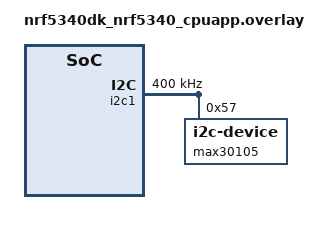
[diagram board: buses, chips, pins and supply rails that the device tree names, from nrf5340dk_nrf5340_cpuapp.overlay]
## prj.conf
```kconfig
CONFIG_BT=y
CONFIG_BT_DEBUG_LOG=y
CONFIG_BT_SMP=y
CONFIG_BT_PERIPHERAL=y
CONFIG_BT_DIS=y
CONFIG_BT_DIS_PNP=n
CONFIG_BT_BAS=y
CONFIG_BT_HRS=y
CONFIG_BT_DEVICE_NAME="Zephyr Health Sensor"
CONFIG_BT_DEVICE_APPEARANCE=768
CONFIG_BT_ATT_ENFORCE_FLOW=n
CONFIG_CBPRINTF_FP_SUPPORT=y
CONFIG_I2C=y
```

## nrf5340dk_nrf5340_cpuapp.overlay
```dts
// To get started, press Ctrl+Space to bring up the completion menu and view the available nodes.

// You can also use the buttons in the sidebar to perform actions on nodes.
// Actions currently available include:

// * Enabling / disabling the node
// * Adding the bus to a bus
// * Removing the node
// * Connecting ADC channels

// For more help, browse the DeviceTree documentation at https://docs.zephyrproject.org/latest/guides/dts/index.html
// You can also visit the nRF DeviceTree extension documentation at https://nrfconnect.github.io/vscode-nrf-connect/devicetree/nrfdevicetree.html

&i2c1 {
    compatible = "nordic,nrf-twim";
    status = "ok";
    clock-frequency = <I2C_BITRATE_FAST>;
    max30105: max30105@57 {
        compatible = "i2c-device";
        reg = <0x57>;
        label = "max30105";
    };
};
```

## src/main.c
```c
/* main.c - Application main entry point */

/*
 * Copyright (c) 2019 Aaron Tsui <aaron.tsui@outlook.com>
 *
 * SPDX-License-Identifier: Apache-2.0
 */

#include <zephyr/types.h>
#include <stddef.h>
#include <string.h>
#include <errno.h>
#include <zephyr/sys/printk.h>
#include <zephyr/sys/byteorder.h>
#include <zephyr/kernel.h>

#include <zephyr/bluetooth/bluetooth.h>
#include <zephyr/bluetooth/hci.h>
#include <zephyr/bluetooth/conn.h>
#include <zephyr/bluetooth/uuid.h>
#include <zephyr/bluetooth/gatt.h>
#include <zephyr/bluetooth/services/bas.h>

#include "hts.h"

#include "heartRate.h"
#include "MAX30105.h"
#include "spo2_algorithm.h"

static const struct i2c_dt_spec i2cSpec = I2C_DT_SPEC_GET(DT_NODELABEL(max30105));

static MAX30105 sensor = { .i2cDriver = &i2cSpec };

static const struct bt_data ad[] = {
	BT_DATA_BYTES(BT_DATA_FLAGS, (BT_LE_AD_GENERAL | BT_LE_AD_NO_BREDR)),
	BT_DATA_BYTES(BT_DATA_UUID16_ALL,
		      BT_UUID_16_ENCODE(BT_UUID_HTS_VAL),
		      BT_UUID_16_ENCODE(BT_UUID_DIS_VAL),
		      BT_UUID_16_ENCODE(BT_UUID_BAS_VAL)),
};

static void connected(struct bt_conn *conn, uint8_t err)
{
	if (err) {
		printk("Connection failed (err 0x%02x)\n", err);
	} else {
		printk("Connected\n");
	}
}

static void disconnected(struct bt_conn *conn, uint8_t reason)
{
	printk("Disconnected (reason 0x%02x)\n", reason);
}

BT_CONN_CB_DEFINE(conn_callbacks) = {
	.connected = connected,
	.disconnected = disconnected,
};

static void bt_ready(void)
{
	int err;

	printk("Bluetooth initialized\n");

	hts_init();

	err = bt_le_adv_start(BT_LE_ADV_CONN_NAME, ad, ARRAY_SIZE(ad), NULL, 0);
	if (err) {
		printk("Advertising failed to start (err %d)\n", err);
		return;
	}

	printk("Advertising successfully started\n");
}

static void auth_cancel(struct bt_conn *conn)
{
	char addr[BT_ADDR_LE_STR_LEN];

	bt_addr_le_to_str(bt_conn_get_dst(conn), addr, sizeof(addr));

	printk("Pairing cancelled: %s\n", addr);
}

static struct bt_conn_auth_cb auth_cb_display = {
	.cancel = auth_cancel,
};

static void bas_notify(void)
{
	uint8_t battery_level = bt_bas_get_battery_level();

	battery_level--;

	if (!battery_level) {
		battery_level = 100U;
	}

	bt_bas_set_battery_level(battery_level);
}

void main(void)
{
	int err;

	err = bt_enable(NULL);
	if (err) {
		printk("Bluetooth init failed (err %d)\n", err);
		return;
	}

	bt_ready();

	bt_conn_auth_cb_register(&auth_cb_display);

	/* Implement indicate. At the moment there is no suitable way
	 * of starting delayed work so we do it here
	 */
	while (1) {
		k_sleep(K_SECONDS(1));

		/* Temperature measurements simulation */
		hts_indicate();

		/* Battery level simulation */
		bas_notify();
	}
}
```

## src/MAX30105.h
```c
/*************************************************** 
 This is a library written for the Maxim MAX30105 Optical Smoke Detector
 It should also work with the MAX30102. However, the MAX30102 does not have a Green LED.

 These sensors use I2C to communicate, as well as a single (optional)
 interrupt line that is not currently supported in this driver.
 
 Written by Peter Jansen and Nathan Seidle (SparkFun)
 BSD license, all text above must be included in any redistribution.
 *****************************************************/

#pragma once

#include <stdbool.h>
#include <stdint.h>
#include <zephyr/drivers/i2c.h>

//Define the size of the I2C buffer
#define I2C_BUFFER_LENGTH 32

#define STORAGE_SIZE 4 //Each long is 4 bytes so limit this to fit on your micro

typedef uint8_t byte;

typedef struct Record
{
  uint32_t red[STORAGE_SIZE];
  uint32_t IR[STORAGE_SIZE];
  uint32_t green[STORAGE_SIZE];
  byte head;
  byte tail;
} sense_struct; //This is our circular buffer of readings from the sensor

typedef struct {
  const struct i2c_dt_spec* i2cDriver;
  //activeLEDs is the number of channels turned on, and can be 1 to 3. 2 is common for Red+IR.
  byte activeLEDs; //Gets set during setup. Allows check() to calculate how many bytes to read from FIFO
  uint8_t revisionID;
  sense_struct sense;
} MAX30105;


bool MAX30105_init(MAX30105* sensor);

uint32_t MAX30105_getRed(MAX30105* sensor); //Returns immediate red value
uint32_t MAX30105_getIR(MAX30105* sensor); //Returns immediate IR value
uint32_t MAX30105_getGreen(MAX30105* sensor); //Returns immediate green value
bool MAX30105_safeCheck(MAX30105* sensor, uint8_t maxTimeToCheck); //Given a max amount of time, check for new data

// Configuration
void MAX30105_softReset(MAX30105* sensor);
void MAX30105_shutDown(MAX30105* sensor);
void MAX30105_wakeUp(MAX30105* sensor);

void MAX30105_setLEDMode(MAX30105* sensor, uint8_t mode);

void MAX30105_setADCRange(MAX30105* sensor, uint8_t adcRange);
void MAX30105_setSampleRate(MAX30105* sensor, uint8_t sampleRate);
void MAX30105_setPulseWidth(MAX30105* sensor, uint8_t pulseWidth);

void MAX30105_setPulseAmplitudeRed(MAX30105* sensor, uint8_t amplitude);
void MAX30105_setPulseAmplitudeIR(MAX30105* sensor, uint8_t amplitude);
void MAX30105_setPulseAmplitudeGreen(MAX30105* sensor, uint8_t amplitude);
void MAX30105_setPulseAmplitudeProximity(MAX30105* sensor, uint8_t amplitude);

void MAX30105_setProximityThreshold(MAX30105* sensor, uint8_t threshMSB);

//Multi-led configuration mode (page 22)
void MAX30105_enableSlot(MAX30105* sensor, uint8_t slotNumber, uint8_t device); //Given slot number, assign a device to slot
void MAX30105_disableSlots(MAX30105* sensor);

// Data Collection

//Interrupts (page 13, 14)
uint8_t MAX30105_getINT1(MAX30105* sensor); //Returns the main interrupt group
uint8_t MAX30105_getINT2(MAX30105* sensor); //Returns the temp ready interrupt
void MAX30105_enableAFULL(MAX30105* sensor); //Enable/disable individual interrupts
void MAX30105_disableAFULL(MAX30105* sensor);
void MAX30105_enableDATARDY(MAX30105* sensor);
void MAX30105_disableDATARDY(MAX30105* sensor);
void MAX30105_enableALCOVF(MAX30105* sensor);
void MAX30105_disableALCOVF(MAX30105* sensor);
void MAX30105_enablePROXINT(MAX30105* sensor);
void MAX30105_disablePROXINT(MAX30105* sensor);
void MAX30105_enableDIETEMPRDY(MAX30105* sensor);
void MAX30105_disableDIETEMPRDY(MAX30105* sensor);

//FIFO Configuration (page 18)
void MAX30105_setFIFOAverage(MAX30105* sensor, uint8_t numberOfSamples);
void MAX30105_enableFIFORollover(MAX30105* sensor);
void MAX30105_disableFIFORollover(MAX30105* sensor);
void MAX30105_setFIFOAlmostFull(MAX30105* sensor, uint8_t numberOfSamples);

//FIFO Reading
uint16_t MAX30105_check(MAX30105* sensor); //Checks for new data and fills FIFO
uint8_t MAX30105_available(MAX30105* sensor); //Tells caller how many new samples are available (head - tail)
void MAX30105_nextSample(MAX30105* sensor); //Advances the tail of the sense array
uint32_t MAX30105_getFIFORed(MAX30105* sensor); //Returns the FIFO sample pointed to by tail
uint32_t MAX30105_getFIFOIR(MAX30105* sensor); //Returns the FIFO sample pointed to by tail
uint32_t MAX30105_getFIFOGreen(MAX30105* sensor); //Returns the FIFO sample pointed to by tail

uint8_t MAX30105_getWritePointer(MAX30105* sensor);
uint8_t MAX30105_getReadPointer(MAX30105* sensor);
void MAX30105_clearFIFO(MAX30105* sensor); //Sets the read/write pointers to zero

//Proximity Mode Interrupt Threshold
void setPROXINTTHRESH(uint8_t val);

// Die Temperature
float MAX30105_readTemperature(MAX30105* sensor);
float MAX30105_readTemperatureF(MAX30105* sensor);

// Detecting ID/Revision
uint8_t MAX30105_readPartID(MAX30105* sensor);

// Setup the IC with user selectable settings
void MAX30105_setup(MAX30105* sensor, byte powerLevel, byte sampleAverage, byte ledMode, int sampleRate, int pulseWidth, int adcRange);

void MAX30105_readRevisionID(MAX30105* sensor);

void MAX30105_bitMask(MAX30105* sensor, uint8_t reg, uint8_t mask, uint8_t thing);
```

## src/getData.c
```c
/*
  Optical SP02 Detection (SPK Algorithm) using the MAX30105 Breakout
  By: Nathan Seidle @ SparkFun Electronics
  Date: October 19th, 2016
  https://github.com/sparkfun/MAX30105_Breakout

  This demo shows heart rate and SPO2 levels.

  It is best to attach the sensor to your finger using a rubber band or other tightening 
  device. Humans are generally bad at applying constant pressure to a thing. When you 
  press your finger against the sensor it varies enough to cause the blood in your 
  finger to flow differently which causes the sensor readings to go wonky.

  This example is based on MAXREFDES117 and RD117_LILYPAD.ino from Maxim. Their example
  was modified to work with the SparkFun MAX30105 library and to compile under Arduino 1.6.11
  Please see license file for more info.

  Hardware Connections (Breakoutboard to Arduino):
  -5V = 5V (3.3V is allowed)
  -GND = GND
  -SDA = A4 (or SDA)
  -SCL = A5 (or SCL)
  -INT = Not connected
 
  The MAX30105 Breakout can handle 5V or 3.3V I2C logic. We recommend powering the board with 5V
  but it will also run at 3.3V.
*/

#include "getData.h"
#include "spo2_algorithm.h"

#define MAX_BRIGHTNESS 255
#define LED_BUFFER 100

uint32_t irBuffer[LED_BUFFER];  //infrared LED sensor data
uint32_t redBuffer[LED_BUFFER]; //red LED sensor data

void getSpo2AndHeartRateInit(MAX30105* sensor, int32_t* spo2, int8_t* validSPO2, int32_t* heartRate, int8_t* validHeartRate)
{
    //read the first 100 samples, and determine the signal range
    for (byte i = 0; i < LED_BUFFER; i++) {
        while (!MAX30105_available(sensor)) //do we have new data?
            MAX30105_check(sensor); //Check the sensor for new data

        redBuffer[i] = MAX30105_getRed(sensor);
        irBuffer[i] = MAX30105_getIR(sensor);
        MAX30105_nextSample(sensor); //We're finished with this sample so move to next sample
    }

    //calculate heart rate and SpO2 after first 100 samples (first 4 seconds of samples)
    maxim_heart_rate_and_oxygen_saturation(irBuffer, LED_BUFFER, redBuffer, spo2, validSPO2, heartRate, validHeartRate);
}

//Continuously taking samples from MAX30102.  Heart rate and SpO2 are calculated every 1 second
void getSpo2AndHeartRateContinuous(MAX30105* sensor, int32_t* spo2, int8_t* validSPO2, int32_t* heartRate, int8_t* validHeartRate)
{
    //dumping the first 25 sets of samples in the memory and shift the last 75 sets of samples to the top
    for (byte i = 25; i < LED_BUFFER; i++) {
        redBuffer[i - 25] = redBuffer[i];
        irBuffer[i - 25] = irBuffer[i];
    }

    //take 25 sets of samples before calculating the heart rate.
    for (byte i = 75; i < LED_BUFFER; i++) {
        while (!MAX30105_available(sensor)) //do we have new data?
            MAX30105_check(sensor); //Check the sensor for new data

        redBuffer[i] = MAX30105_getRed(sensor);
        irBuffer[i] = MAX30105_getIR(sensor);
        MAX30105_nextSample(sensor); //We're finished with this sample so move to next sample
    }

    //After gathering 25 new samples recalculate HR and SP02
    maxim_heart_rate_and_oxygen_saturation(irBuffer, LED_BUFFER, redBuffer, spo2, validSPO2, heartRate, validHeartRate);
}
```

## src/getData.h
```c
#include "MAX30105.h"

void getSpo2AndHeartRateInit(MAX30105* sensor, int32_t* spo2, int8_t* validSPO2, int32_t* heartRate, int8_t* validHeartRate);
void getSpo2AndHeartRateContinuous(MAX30105* sensor, int32_t* spo2, int8_t* validSPO2, int32_t* heartRate, int8_t* validHeartRate);
```

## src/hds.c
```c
/** @file
 *  @brief HTS Service sample
 */

/*
 * Copyright (c) 2020 SixOctets Systems
 * Copyright (c) 2019 Aaron Tsui <aaron.tsui@outlook.com>
 *
 * SPDX-License-Identifier: Apache-2.0
 */

#include <stdio.h>
#include <stddef.h>
#include <string.h>
#include <errno.h>

#include <zephyr/kernel.h>
#include <zephyr/sys/printk.h>
#include <zephyr/sys/byteorder.h>

#include <zephyr/bluetooth/bluetooth.h>
#include <zephyr/bluetooth/hci.h>
#include <zephyr/bluetooth/conn.h>
#include <zephyr/bluetooth/uuid.h>
#include <zephyr/bluetooth/gatt.h>
#include <zephyr/bluetooth/services/hrs.h>

#include "hds.h"

#include "getData.h"
#include "heartRate.h"
#include "MAX30105.h"
#include "spo2_algorithm.h"

static const struct i2c_dt_spec i2cSpec = I2C_DT_SPEC_GET(DT_NODELABEL(max30105));

static MAX30105 sensor = { .i2cDriver = &i2cSpec };

const float calibrate_temp = 1.2;

int32_t spo2; //SPO2 value
int8_t validSPO2; //indicator to show if the SPO2 calculation is valid
int32_t heartRate; //heart rate value
int8_t validHeartRate; //indicator to show if the heart rate calculation is valid

static uint8_t simulate_htm;
static uint8_t indicating;

static void htmc_ccc_cfg_changed(const struct bt_gatt_attr *attr,
				 uint16_t value)
{
	simulate_htm = (value == BT_GATT_CCC_INDICATE) ? 1 : 0;
}

static void indicate_cb(struct bt_conn *conn,
			struct bt_gatt_indicate_params *params, uint8_t err)
{
	printk("Indication %s\n", err != 0U ? "fail" : "success");
}

static void indicate_destroy(struct bt_gatt_indicate_params *params)
{
	printk("Indication complete\n");
	indicating = 0U;
}

/* Health Thermometer Service Declaration */
BT_GATT_SERVICE_DEFINE(hts_svc,
	BT_GATT_PRIMARY_SERVICE(BT_UUID_HTS),
	BT_GATT_CHARACTERISTIC(BT_UUID_HTS_MEASUREMENT, BT_GATT_CHRC_INDICATE,
			       BT_GATT_PERM_NONE, NULL, NULL, NULL),
	BT_GATT_CCC(htmc_ccc_cfg_changed,
		    BT_GATT_PERM_READ | BT_GATT_PERM_WRITE),
	/* more optional Characteristics */
);

void bt_hts_notify(double temperature) {
	uint32_t mantissa = (uint32_t)(temperature * 100);
	uint8_t exponent = (uint8_t)-2;

	uint8_t htm[5];
	htm[0] = 0; /* temperature in celsius */
	sys_put_le24(mantissa, (uint8_t *)&htm[1]);
	htm[4] = exponent;

	struct bt_gatt_indicate_params ind_params = {
		.attr = &hts_svc.attrs[2],
		.func = indicate_cb,
		.destroy = indicate_destroy,
		.data = &htm,
		.len = sizeof(htm)
	};

	if (bt_gatt_indicate(NULL, &ind_params) == 0) {
		indicating = 1U;
	}
}

void hds_init(void)
{
	MAX30105_init(&sensor);

	byte ledBrightness = 60; //Options: 0=Off to 255=50mA
  	byte sampleAverage = 4; //Options: 1, 2, 4, 8, 16, 32
  	byte ledMode = 2; //Options: 1 = Red only, 2 = Red + IR, 3 = Red + IR + Green
  	byte sampleRate = 100; //Options: 50, 100, 200, 400, 800, 1000, 1600, 3200
  	int pulseWidth = 411; //Options: 69, 118, 215, 411
  	int adcRange = 4096; //Options: 2048, 4096, 8192, 16384
	MAX30105_setup(&sensor, ledBrightness, sampleAverage, ledMode, sampleRate, pulseWidth, adcRange);

	MAX30105_enableDIETEMPRDY(&sensor); //Enable the temp ready interrupt. This is required.

	getSpo2AndHeartRateInit(&sensor, &spo2, &validSPO2, &heartRate, &validHeartRate);
}

void hds_indicate(void)
{
	uint32_t ir = MAX30105_getIR(&sensor);
	getSpo2AndHeartRateContinuous(&sensor, &spo2, &validSPO2, &heartRate, &validHeartRate);
	float temp = MAX30105_readTemperature(&sensor) + calibrate_temp;

	printk(
		"temperature=%.2f ºC, BPM=%d, validBPM=%d, SpO2=%d, validSpO2=%d",
		temp,
		heartRate,
		validHeartRate,
		spo2,
		validSPO2
	);

	if (ir < 50000) printk(" No finger?");

	bt_hts_notify((double) temp);
	if (validHeartRate)	bt_hrs_notify((uint16_t) heartRate);

  	printk("\r\n");
}
```

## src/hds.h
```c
void hds_init(void);
void hds_indicate(void);
```

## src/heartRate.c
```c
/*
 Optical Heart Rate Detection (PBA Algorithm)
 By: Nathan Seidle
 SparkFun Electronics
 Date: October 2nd, 2016
 
 Given a series of IR samples from the MAX30105 we discern when a heart beat is occurring

 Let's have a brief chat about what this code does. We're going to try to detect
 heart-rate optically. This is tricky and prone to give false readings. We really don't
 want to get anyone hurt so use this code only as an example of how to process optical
 data. Build fun stuff with our MAX30105 breakout board but don't use it for actual
 medical diagnosis.

 Excellent background on optical heart rate detection:
 http://www.ti.com/lit/an/slaa655/slaa655.pdf

 Good reading:
 http://www.techforfuture.nl/fjc_documents/mitrabaratchi-measuringheartratewithopticalsensor.pdf
 https://fruct.org/publications/fruct13/files/Lau.pdf

 This is an implementation of Maxim's PBA (Penpheral Beat Amplitude) algorithm. It's been 
 converted to work within the Arduino framework.
*/

/* Copyright (C) 2016 Maxim Integrated Products, Inc., All Rights Reserved.
*
* Permission is hereby granted, free of charge, to any person obtaining a
* copy of this software and associated documentation files (the "Software"),
* to deal in the Software without restriction, including without limitation
* the rights to use, copy, modify, merge, publish, distribute, sublicense,
* and/or sell copies of the Software, and to permit persons to whom the
* Software is furnished to do so, subject to the following conditions:
*
* The above copyright notice and this permission notice shall be included
* in all copies or substantial portions of the Software.
*
* THE SOFTWARE IS PROVIDED "AS IS", WITHOUT WARRANTY OF ANY KIND, EXPRESS
* OR IMPLIED, INCLUDING BUT NOT LIMITED TO THE WARRANTIES OF
* MERCHANTABILITY, FITNESS FOR A PARTICULAR PURPOSE AND NONINFRINGEMENT.
* IN NO EVENT SHALL MAXIM INTEGRATED BE LIABLE FOR ANY CLAIM, DAMAGES
* OR OTHER LIABILITY, WHETHER IN AN ACTION OF CONTRACT, TORT OR OTHERWISE,
* ARISING FROM, OUT OF OR IN CONNECTION WITH THE SOFTWARE OR THE USE OR
* OTHER DEALINGS IN THE SOFTWARE.
*
* Except as contained in this notice, the name of Maxim Integrated
* Products, Inc. shall not be used except as stated in the Maxim Integrated
* Products, Inc. Branding Policy.
*
* The mere transfer of this software does not imply any licenses
* of trade secrets, proprietary technology, copyrights, patents,
* trademarks, maskwork rights, or any other form of intellectual
* property whatsoever. Maxim Integrated Products, Inc. retains all
* ownership rights.
* 
*/

#include "heartRate.h"

int16_t IR_AC_Max = 20;
int16_t IR_AC_Min = -20;

int16_t IR_AC_Signal_Current = 0;
int16_t IR_AC_Signal_Previous;
int16_t IR_AC_Signal_min = 0;
int16_t IR_AC_Signal_max = 0;
int16_t IR_Average_Estimated;

int16_t positiveEdge = 0;
int16_t negativeEdge = 0;
int32_t ir_avg_reg = 0;

int16_t cbuf[32];
uint8_t offset = 0;

static const uint16_t FIRCoeffs[12] = {172, 321, 579, 927, 1360, 1858, 2390, 2916, 3391, 3768, 4012, 4096};

//  Heart Rate Monitor functions takes a sample value and the sample number
//  Returns true if a beat is detected
//  A running average of four samples is recommended for display on the screen.
bool checkForBeat(int32_t sample)
{
  bool beatDetected = false;

  //  Save current state
  IR_AC_Signal_Previous = IR_AC_Signal_Current;

  //  Process next data sample
  IR_Average_Estimated = averageDCEstimator(&ir_avg_reg, sample);
  IR_AC_Signal_Current = lowPassFIRFilter(sample - IR_Average_Estimated);

  //  Detect positive zero crossing (rising edge)
  if ((IR_AC_Signal_Previous < 0) & (IR_AC_Signal_Current >= 0))
  {
  
    IR_AC_Max = IR_AC_Signal_max; //Adjust our AC max and min
    IR_AC_Min = IR_AC_Signal_min;

    positiveEdge = 1;
    negativeEdge = 0;
    IR_AC_Signal_max = 0;

    //if ((IR_AC_Max - IR_AC_Min) > 100 & (IR_AC_Max - IR_AC_Min) < 1000)
    if (((IR_AC_Max - IR_AC_Min) > 20) & ((IR_AC_Max - IR_AC_Min) < 1000))
    {
      //Heart beat!!!
      beatDetected = true;
    }
  }

  //  Detect negative zero crossing (falling edge)
  if ((IR_AC_Signal_Previous > 0) & (IR_AC_Signal_Current <= 0))
  {
    positiveEdge = 0;
    negativeEdge = 1;
    IR_AC_Signal_min = 0;
  }

  //  Find Maximum value in positive cycle
  if (positiveEdge & (IR_AC_Signal_Current > IR_AC_Signal_Previous))
  {
    IR_AC_Signal_max = IR_AC_Signal_Current;
  }

  //  Find Minimum value in negative cycle
  if (negativeEdge & (IR_AC_Signal_Current < IR_AC_Signal_Previous))
  {
    IR_AC_Signal_min = IR_AC_Signal_Current;
  }
  
  return(beatDetected);
}

//  Average DC Estimator
int16_t averageDCEstimator(int32_t *p, uint16_t x)
{
  *p += ((((long) x << 15) - *p) >> 4);
  return (*p >> 15);
}

//  Low Pass FIR Filter
int16_t lowPassFIRFilter(int16_t din)
{  
  cbuf[offset] = din;

  int32_t z = mul16(FIRCoeffs[11], cbuf[(offset - 11) & 0x1F]);
  
  for (uint8_t i = 0 ; i < 11 ; i++)
  {
    z += mul16(FIRCoeffs[i], cbuf[(offset - i) & 0x1F] + cbuf[(offset - 22 + i) & 0x1F]);
  }

  offset++;
  offset %= 32; //Wrap condition

  return(z >> 15);
}

//  Integer multiplier
int32_t mul16(int16_t x, int16_t y)
{
  return((long)x * (long)y);
}
```

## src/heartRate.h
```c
/*
 Optical Heart Rate Detection (PBA Algorithm)
 By: Nathan Seidle
 SparkFun Electronics
 Date: October 2nd, 2016
 
 Given a series of IR samples from the MAX30105 we discern when a heart beat is occurring

 Let's have a brief chat about what this code does. We're going to try to detect
 heart-rate optically. This is tricky and prone to give false readings. We really don't
 want to get anyone hurt so use this code only as an example of how to process optical
 data. Build fun stuff with our MAX30105 breakout board but don't use it for actual
 medical diagnosis.

 Excellent background on optical heart rate detection:
 http://www.ti.com/lit/an/slaa655/slaa655.pdf

 Good reading:
 http://www.techforfuture.nl/fjc_documents/mitrabaratchi-measuringheartratewithopticalsensor.pdf
 https://fruct.org/publications/fruct13/files/Lau.pdf

 This is an implementation of Maxim's PBA (Penpheral Beat Amplitude) algorithm. It's been 
 converted to work within the Arduino framework.
*/

/* Copyright (C) 2016 Maxim Integrated Products, Inc., All Rights Reserved.
*
* Permission is hereby granted, free of charge, to any person obtaining a
* copy of this software and associated documentation files (the "Software"),
* to deal in the Software without restriction, including without limitation
* the rights to use, copy, modify, merge, publish, distribute, sublicense,
* and/or sell copies of the Software, and to permit persons to whom the
* Software is furnished to do so, subject to the following conditions:
*
* The above copyright notice and this permission notice shall be included
* in all copies or substantial portions of the Software.
*
* THE SOFTWARE IS PROVIDED "AS IS", WITHOUT WARRANTY OF ANY KIND, EXPRESS
* OR IMPLIED, INCLUDING BUT NOT LIMITED TO THE WARRANTIES OF
* MERCHANTABILITY, FITNESS FOR A PARTICULAR PURPOSE AND NONINFRINGEMENT.
* IN NO EVENT SHALL MAXIM INTEGRATED BE LIABLE FOR ANY CLAIM, DAMAGES
* OR OTHER LIABILITY, WHETHER IN AN ACTION OF CONTRACT, TORT OR OTHERWISE,
* ARISING FROM, OUT OF OR IN CONNECTION WITH THE SOFTWARE OR THE USE OR
* OTHER DEALINGS IN THE SOFTWARE.
*
* Except as contained in this notice, the name of Maxim Integrated
* Products, Inc. shall not be used except as stated in the Maxim Integrated
* Products, Inc. Branding Policy.
*
* The mere transfer of this software does not imply any licenses
* of trade secrets, proprietary technology, copyrights, patents,
* trademarks, maskwork rights, or any other form of intellectual
* property whatsoever. Maxim Integrated Products, Inc. retains all
* ownership rights.
* 
*/

#pragma once

#include <stdbool.h>
#include <stdint.h>

bool checkForBeat(int32_t sample);
int16_t averageDCEstimator(int32_t *p, uint16_t x);
int16_t lowPassFIRFilter(int16_t din);
int32_t mul16(int16_t x, int16_t y);
```

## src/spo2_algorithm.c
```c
/** \file algorithm.cpp ******************************************************
*
* Project: MAXREFDES117#
* Filename: algorithm.cpp
* Description: This module calculates the heart rate/SpO2 level
*
*
* --------------------------------------------------------------------
*
* This code follows the following naming conventions:
*
* char              ch_pmod_value
* char (array)      s_pmod_s_string[16]
* float             f_pmod_value
* int32_t           n_pmod_value
* int32_t (array)   an_pmod_value[16]
* int16_t           w_pmod_value
* int16_t (array)   aw_pmod_value[16]
* uint16_t          uw_pmod_value
* uint16_t (array)  auw_pmod_value[16]
* uint8_t           uch_pmod_value
* uint8_t (array)   auch_pmod_buffer[16]
* uint32_t          un_pmod_value
* int32_t *         pn_pmod_value
*
* ------------------------------------------------------------------------- */
/*******************************************************************************
* Copyright (C) 2016 Maxim Integrated Products, Inc., All Rights Reserved.
*
* Permission is hereby granted, free of charge, to any person obtaining a
* copy of this software and associated documentation files (the "Software"),
* to deal in the Software without restriction, including without limitation
* the rights to use, copy, modify, merge, publish, distribute, sublicense,
* and/or sell copies of the Software, and to permit persons to whom the
* Software is furnished to do so, subject to the following conditions:
*
* The above copyright notice and this permission notice shall be included
* in all copies or substantial portions of the Software.
*
* THE SOFTWARE IS PROVIDED "AS IS", WITHOUT WARRANTY OF ANY KIND, EXPRESS
* OR IMPLIED, INCLUDING BUT NOT LIMITED TO THE WARRANTIES OF
* MERCHANTABILITY, FITNESS FOR A PARTICULAR PURPOSE AND NONINFRINGEMENT.
* IN NO EVENT SHALL MAXIM INTEGRATED BE LIABLE FOR ANY CLAIM, DAMAGES
* OR OTHER LIABILITY, WHETHER IN AN ACTION OF CONTRACT, TORT OR OTHERWISE,
* ARISING FROM, OUT OF OR IN CONNECTION WITH THE SOFTWARE OR THE USE OR
* OTHER DEALINGS IN THE SOFTWARE.
*
* Except as contained in this notice, the name of Maxim Integrated
* Products, Inc. shall not be used except as stated in the Maxim Integrated
* Products, Inc. Branding Policy.
*
* The mere transfer of this software does not imply any licenses
* of trade secrets, proprietary technology, copyrights, patents,
* trademarks, maskwork rights, or any other form of intellectual
* property whatsoever. Maxim Integrated Products, Inc. retains all
* ownership rights.
*******************************************************************************
*/

#include "spo2_algorithm.h"

#define min(x, y) (x < y ? x : y)

//uch_spo2_table is approximated as  -45.060*ratioAverage* ratioAverage + 30.354 *ratioAverage + 94.845 ;
const uint8_t uch_spo2_table[184]={ 95, 95, 95, 96, 96, 96, 97, 97, 97, 97, 97, 98, 98, 98, 98, 98, 99, 99, 99, 99, 
              99, 99, 99, 99, 100, 100, 100, 100, 100, 100, 100, 100, 100, 100, 100, 100, 100, 100, 100, 100, 
              100, 100, 100, 100, 99, 99, 99, 99, 99, 99, 99, 99, 98, 98, 98, 98, 98, 98, 97, 97, 
              97, 97, 96, 96, 96, 96, 95, 95, 95, 94, 94, 94, 93, 93, 93, 92, 92, 92, 91, 91, 
              90, 90, 89, 89, 89, 88, 88, 87, 87, 86, 86, 85, 85, 84, 84, 83, 82, 82, 81, 81, 
              80, 80, 79, 78, 78, 77, 76, 76, 75, 74, 74, 73, 72, 72, 71, 70, 69, 69, 68, 67, 
              66, 66, 65, 64, 63, 62, 62, 61, 60, 59, 58, 57, 56, 56, 55, 54, 53, 52, 51, 50, 
              49, 48, 47, 46, 45, 44, 43, 42, 41, 40, 39, 38, 37, 36, 35, 34, 33, 31, 30, 29, 
              28, 27, 26, 25, 23, 22, 21, 20, 19, 17, 16, 15, 14, 12, 11, 10, 9, 7, 6, 5, 
              3, 2, 1 } ;
static  int32_t an_x[ BUFFER_SIZE]; //ir
static  int32_t an_y[ BUFFER_SIZE]; //red

void maxim_heart_rate_and_oxygen_saturation(uint32_t *pun_ir_buffer, int32_t n_ir_buffer_length, uint32_t *pun_red_buffer, int32_t *pn_spo2, int8_t *pch_spo2_valid, 
                int32_t *pn_heart_rate, int8_t *pch_hr_valid)
/**
* \brief        Calculate the heart rate and SpO2 level
* \par          Details
*               By detecting  peaks of PPG cycle and corresponding AC/DC of red/infra-red signal, the an_ratio for the SPO2 is computed.
*               Since this algorithm is aiming for Arm M0/M3. formaula for SPO2 did not achieve the accuracy due to register overflow.
*               Thus, accurate SPO2 is precalculated and save longo uch_spo2_table[] per each an_ratio.
*
* \param[in]    *pun_ir_buffer           - IR sensor data buffer
* \param[in]    n_ir_buffer_length      - IR sensor data buffer length
* \param[in]    *pun_red_buffer          - Red sensor data buffer
* \param[out]    *pn_spo2                - Calculated SpO2 value
* \param[out]    *pch_spo2_valid         - 1 if the calculated SpO2 value is valid
* \param[out]    *pn_heart_rate          - Calculated heart rate value
* \param[out]    *pch_hr_valid           - 1 if the calculated heart rate value is valid
*
* \retval       None
*/
{
  uint32_t un_ir_mean;
  int32_t k, n_i_ratio_count;
  int32_t i, n_exact_ir_valley_locs_count, n_middle_idx;
  int32_t n_th1, n_npks;   
  int32_t an_ir_valley_locs[15] ;
  int32_t n_peak_interval_sum;
  
  int32_t n_y_ac, n_x_ac;
  int32_t n_spo2_calc; 
  int32_t n_y_dc_max, n_x_dc_max; 
  int32_t n_y_dc_max_idx = 0;
  int32_t n_x_dc_max_idx = 0; 
  int32_t an_ratio[5], n_ratio_average; 
  int32_t n_nume, n_denom ;

  // calculates DC mean and subtract DC from ir
  un_ir_mean =0; 
  for (k=0 ; k<n_ir_buffer_length ; k++ ) un_ir_mean += pun_ir_buffer[k] ;
  un_ir_mean =un_ir_mean/n_ir_buffer_length ;
    
  // remove DC and invert signal so that we can use peak detector as valley detector
  for (k=0 ; k<n_ir_buffer_length ; k++ )  
    an_x[k] = -1*(pun_ir_buffer[k] - un_ir_mean) ; 
    
  // 4 pt Moving Average
  for(k=0; k< BUFFER_SIZE-MA4_SIZE; k++){
    an_x[k]=( an_x[k]+an_x[k+1]+ an_x[k+2]+ an_x[k+3])/(int)4;        
  }
  // calculate threshold  
  n_th1=0; 
  for ( k=0 ; k<BUFFER_SIZE ;k++){
    n_th1 +=  an_x[k];
  }
  n_th1=  n_th1/ ( BUFFER_SIZE);
  if( n_th1<30) n_th1=30; // min allowed
  if( n_th1>60) n_th1=60; // max allowed

  for ( k=0 ; k<15;k++) an_ir_valley_locs[k]=0;
  // since we flipped signal, we use peak detector as valley detector
  maxim_find_peaks( an_ir_valley_locs, &n_npks, an_x, BUFFER_SIZE, n_th1, 4, 15 );//peak_height, peak_distance, max_num_peaks 
  n_peak_interval_sum =0;
  if (n_npks>=2){
    for (k=1; k<n_npks; k++) n_peak_interval_sum += (an_ir_valley_locs[k] -an_ir_valley_locs[k -1] ) ;
    n_peak_interval_sum =n_peak_interval_sum/(n_npks-1);
    *pn_heart_rate =(int32_t)( (FreqS*60)/ n_peak_interval_sum );
    *pch_hr_valid  = 1;
  }
  else  { 
    *pn_heart_rate = -999; // unable to calculate because # of peaks are too small
    *pch_hr_valid  = 0;
  }

  //  load raw value again for SPO2 calculation : RED(=y) and IR(=X)
  for (k=0 ; k<n_ir_buffer_length ; k++ )  {
      an_x[k] =  pun_ir_buffer[k] ; 
      an_y[k] =  pun_red_buffer[k] ; 
  }

  // find precise min near an_ir_valley_locs
  n_exact_ir_valley_locs_count =n_npks; 
  
  //using exact_ir_valley_locs , find ir-red DC andir-red AC for SPO2 calibration an_ratio
  //finding AC/DC maximum of raw

  n_ratio_average =0; 
  n_i_ratio_count = 0; 
  for(k=0; k< 5; k++) an_ratio[k]=0;
  for (k=0; k< n_exact_ir_valley_locs_count; k++){
    if (an_ir_valley_locs[k] > BUFFER_SIZE ){
      *pn_spo2 =  -999 ; // do not use SPO2 since valley loc is out of range
      *pch_spo2_valid  = 0; 
      return;
    }
  }
  // find max between two valley locations 
  // and use an_ratio betwen AC compoent of Ir & Red and DC compoent of Ir & Red for SPO2 
  for (k=0; k< n_exact_ir_valley_locs_count-1; k++){
    n_y_dc_max= -16777216 ; 
    n_x_dc_max= -16777216; 
    if (an_ir_valley_locs[k+1]-an_ir_valley_locs[k] >3){
        for (i=an_ir_valley_locs[k]; i< an_ir_valley_locs[k+1]; i++){
          if (an_x[i]> n_x_dc_max) {n_x_dc_max =an_x[i]; n_x_dc_max_idx=i;}
          if (an_y[i]> n_y_dc_max) {n_y_dc_max =an_y[i]; n_y_dc_max_idx=i;}
      }
      n_y_ac= (an_y[an_ir_valley_locs[k+1]] - an_y[an_ir_valley_locs[k] ] )*(n_y_dc_max_idx -an_ir_valley_locs[k]); //red
      n_y_ac=  an_y[an_ir_valley_locs[k]] + n_y_ac/ (an_ir_valley_locs[k+1] - an_ir_valley_locs[k])  ; 
      n_y_ac=  an_y[n_y_dc_max_idx] - n_y_ac;    // subracting linear DC compoenents from raw 
      n_x_ac= (an_x[an_ir_valley_locs[k+1]] - an_x[an_ir_valley_locs[k] ] )*(n_x_dc_max_idx -an_ir_valley_locs[k]); // ir
      n_x_ac=  an_x[an_ir_valley_locs[k]] + n_x_ac/ (an_ir_valley_locs[k+1] - an_ir_valley_locs[k]); 
      n_x_ac=  an_x[n_y_dc_max_idx] - n_x_ac;      // subracting linear DC compoenents from raw 
      n_nume=( n_y_ac *n_x_dc_max)>>7 ; //prepare X100 to preserve floating value
      n_denom= ( n_x_ac *n_y_dc_max)>>7;
      if (n_denom>0  && n_i_ratio_count <5 &&  n_nume != 0)
      {   
        an_ratio[n_i_ratio_count]= (n_nume*100)/n_denom ; //formular is ( n_y_ac *n_x_dc_max) / ( n_x_ac *n_y_dc_max) ;
        n_i_ratio_count++;
      }
    }
  }
  // choose median value since PPG signal may varies from beat to beat
  maxim_sort_ascend(an_ratio, n_i_ratio_count);
  n_middle_idx= n_i_ratio_count/2;

  if (n_middle_idx >1)
    n_ratio_average =( an_ratio[n_middle_idx-1] +an_ratio[n_middle_idx])/2; // use median
  else
    n_ratio_average = an_ratio[n_middle_idx ];

  if( n_ratio_average>2 && n_ratio_average <184){
    n_spo2_calc= uch_spo2_table[n_ratio_average] ;
    *pn_spo2 = n_spo2_calc ;
    *pch_spo2_valid  = 1;//  float_SPO2 =  -45.060*n_ratio_average* n_ratio_average/10000 + 30.354 *n_ratio_average/100 + 94.845 ;  // for comparison with table
  }
  else{
    *pn_spo2 =  -999 ; // do not use SPO2 since signal an_ratio is out of range
    *pch_spo2_valid  = 0; 
  }
}


void maxim_find_peaks( int32_t *pn_locs, int32_t *n_npks,  int32_t  *pn_x, int32_t n_size, int32_t n_min_height, int32_t n_min_distance, int32_t n_max_num )
/**
* \brief        Find peaks
* \par          Details
*               Find at most MAX_NUM peaks above MIN_HEIGHT separated by at least MIN_DISTANCE
*
* \retval       None
*/
{
  maxim_peaks_above_min_height( pn_locs, n_npks, pn_x, n_size, n_min_height );
  maxim_remove_close_peaks( pn_locs, n_npks, pn_x, n_min_distance );
  *n_npks = min( *n_npks, n_max_num );
}

void maxim_peaks_above_min_height( int32_t *pn_locs, int32_t *n_npks,  int32_t  *pn_x, int32_t n_size, int32_t n_min_height )
/**
* \brief        Find peaks above n_min_height
* \par          Details
*               Find all peaks above MIN_HEIGHT
*
* \retval       None
*/
{
  int32_t i = 1, n_width;
  *n_npks = 0;
  
  while (i < n_size-1){
    if (pn_x[i] > n_min_height && pn_x[i] > pn_x[i-1]){      // find left edge of potential peaks
      n_width = 1;
      while (i+n_width < n_size && pn_x[i] == pn_x[i+n_width])  // find flat peaks
        n_width++;
      if (pn_x[i] > pn_x[i+n_width] && (*n_npks) < 15 ){      // find right edge of peaks
        pn_locs[(*n_npks)++] = i;    
        // for flat peaks, peak location is left edge
        i += n_width+1;
      }
      else
        i += n_width;
    }
    else
      i++;
  }
}

void maxim_remove_close_peaks(int32_t *pn_locs, int32_t *pn_npks, int32_t *pn_x, int32_t n_min_distance)
/**
* \brief        Remove peaks
* \par          Details
*               Remove peaks separated by less than MIN_DISTANCE
*
* \retval       None
*/
{
    
  int32_t i, j, n_old_npks, n_dist;
    
  /* Order peaks from large to small */
  maxim_sort_indices_descend( pn_x, pn_locs, *pn_npks );

  for ( i = -1; i < *pn_npks; i++ ){
    n_old_npks = *pn_npks;
    *pn_npks = i+1;
    for ( j = i+1; j < n_old_npks; j++ ){
      n_dist =  pn_locs[j] - ( i == -1 ? -1 : pn_locs[i] ); // lag-zero peak of autocorr is at index -1
      if ( n_dist > n_min_distance || n_dist < -n_min_distance )
        pn_locs[(*pn_npks)++] = pn_locs[j];
    }
  }

  // Resort indices int32_to ascending order
  maxim_sort_ascend( pn_locs, *pn_npks );
}

void maxim_sort_ascend(int32_t  *pn_x, int32_t n_size) 
/**
* \brief        Sort array
* \par          Details
*               Sort array in ascending order (insertion sort algorithm)
*
* \retval       None
*/
{
  int32_t i, j, n_temp;
  for (i = 1; i < n_size; i++) {
    n_temp = pn_x[i];
    for (j = i; j > 0 && n_temp < pn_x[j-1]; j--)
        pn_x[j] = pn_x[j-1];
    pn_x[j] = n_temp;
  }
}

void maxim_sort_indices_descend(  int32_t  *pn_x, int32_t *pn_indx, int32_t n_size)
/**
* \brief        Sort indices
* \par          Details
*               Sort indices according to descending order (insertion sort algorithm)
*
* \retval       None
*/ 
{
  int32_t i, j, n_temp;
  for (i = 1; i < n_size; i++) {
    n_temp = pn_indx[i];
    for (j = i; j > 0 && pn_x[n_temp] > pn_x[pn_indx[j-1]]; j--)
      pn_indx[j] = pn_indx[j-1];
    pn_indx[j] = n_temp;
  }
}
```

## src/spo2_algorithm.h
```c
/** \file algorithm.h ******************************************************
*
* Project: MAXREFDES117#
* Filename: algorithm.h
* Description: This module is the heart rate/SpO2 calculation algorithm header file
*
* Revision History:
*\n 1-18-2016 Rev 01.00 SK Initial release.
*\n
*
* --------------------------------------------------------------------
*
* This code follows the following naming conventions:
*
*\n char              ch_pmod_value
*\n char (array)      s_pmod_s_string[16]
*\n float             f_pmod_value
*\n int32_t           n_pmod_value
*\n int32_t (array)   an_pmod_value[16]
*\n int16_t           w_pmod_value
*\n int16_t (array)   aw_pmod_value[16]
*\n uint16_t          uw_pmod_value
*\n uint16_t (array)  auw_pmod_value[16]
*\n uint8_t           uch_pmod_value
*\n uint8_t (array)   auch_pmod_buffer[16]
*\n uint32_t          un_pmod_value
*\n int32_t *         pn_pmod_value
*
* ------------------------------------------------------------------------- */
/*******************************************************************************
* Copyright (C) 2015 Maxim Integrated Products, Inc., All Rights Reserved.
*
* Permission is hereby granted, free of charge, to any person obtaining a
* copy of this software and associated documentation files (the "Software"),
* to deal in the Software without restriction, including without limitation
* the rights to use, copy, modify, merge, publish, distribute, sublicense,
* and/or sell copies of the Software, and to permit persons to whom the
* Software is furnished to do so, subject to the following conditions:
*
* The above copyright notice and this permission notice shall be included
* in all copies or substantial portions of the Software.
*
* THE SOFTWARE IS PROVIDED "AS IS", WITHOUT WARRANTY OF ANY KIND, EXPRESS
* OR IMPLIED, INCLUDING BUT NOT LIMITED TO THE WARRANTIES OF
* MERCHANTABILITY, FITNESS FOR A PARTICULAR PURPOSE AND NONINFRINGEMENT.
* IN NO EVENT SHALL MAXIM INTEGRATED BE LIABLE FOR ANY CLAIM, DAMAGES
* OR OTHER LIABILITY, WHETHER IN AN ACTION OF CONTRACT, TORT OR OTHERWISE,
* ARISING FROM, OUT OF OR IN CONNECTION WITH THE SOFTWARE OR THE USE OR
* OTHER DEALINGS IN THE SOFTWARE.
*
* Except as contained in this notice, the name of Maxim Integrated
* Products, Inc. shall not be used except as stated in the Maxim Integrated
* Products, Inc. Branding Policy.
*
* The mere transfer of this software does not imply any licenses
* of trade secrets, proprietary technology, copyrights, patents,
* trademarks, maskwork rights, or any other form of intellectual
* property whatsoever. Maxim Integrated Products, Inc. retains all
* ownership rights.
*******************************************************************************
*/

#pragma once

#include <stdint.h>

#ifndef SPO2_ALGORITHM_H_
#define SPO2_ALGORITHM_H_

#define FreqS 25    //sampling frequency
#define BUFFER_SIZE (FreqS * 4) 
#define MA4_SIZE 4 // DONOT CHANGE

void maxim_heart_rate_and_oxygen_saturation(uint32_t *pun_ir_buffer, int32_t n_ir_buffer_length, uint32_t *pun_red_buffer, int32_t *pn_spo2, int8_t *pch_spo2_valid, int32_t *pn_heart_rate, int8_t *pch_hr_valid);

void maxim_find_peaks(int32_t *pn_locs, int32_t *n_npks,  int32_t  *pn_x, int32_t n_size, int32_t n_min_height, int32_t n_min_distance, int32_t n_max_num);
void maxim_peaks_above_min_height(int32_t *pn_locs, int32_t *n_npks,  int32_t  *pn_x, int32_t n_size, int32_t n_min_height);
void maxim_remove_close_peaks(int32_t *pn_locs, int32_t *pn_npks, int32_t *pn_x, int32_t n_min_distance);
void maxim_sort_ascend(int32_t  *pn_x, int32_t n_size);
void maxim_sort_indices_descend(int32_t  *pn_x, int32_t *pn_indx, int32_t n_size);

#endif /* ALGORITHM_H_ */
```
